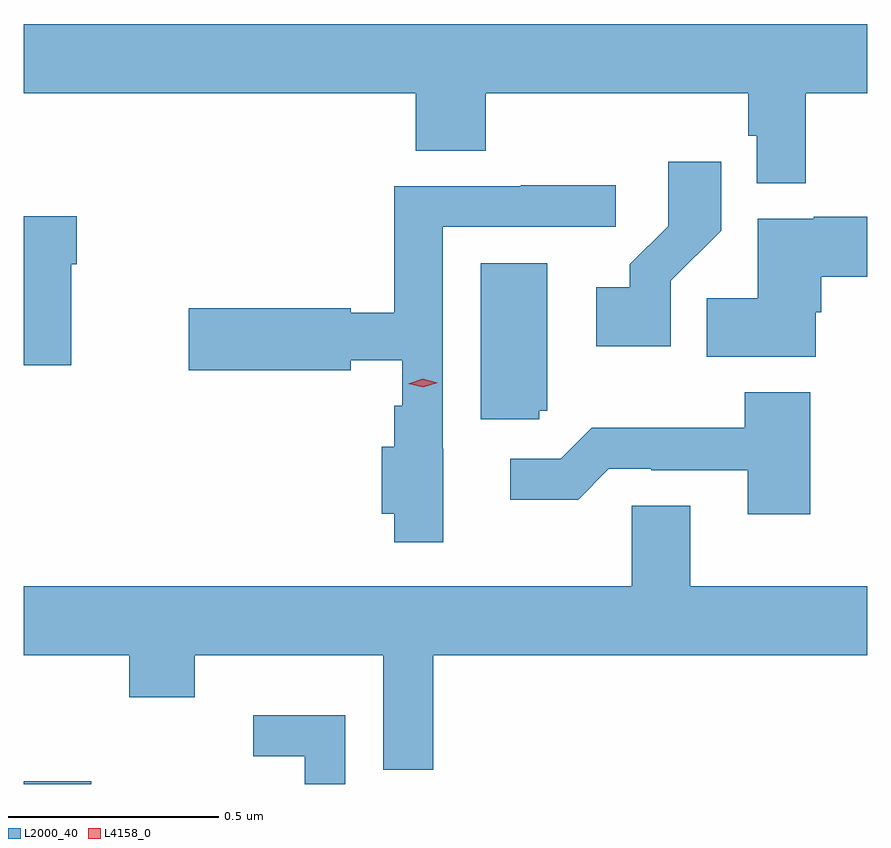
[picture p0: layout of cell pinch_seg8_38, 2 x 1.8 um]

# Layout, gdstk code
import gdstk
lib = gdstk.Library(unit=1e-6, precision=1e-09)
def R(c, l, rs):  # rectangles x0, y0, x1, y1
    for r in rs: c.add(gdstk.rectangle(r[:2], r[2:], *l))
def P(c, l, *ps):  # polygons
    for p in ps: c.add(gdstk.Polygon(p, *l))
L2000_40 = (2000, 40)
L4158_0 = (4158, 0)

pinch_seg8_38 = lib.new_cell('pinch_seg8_38')
R(pinch_seg8_38, L2000_40, [(923.297,1124.187,923.458,1124.194)])
P(pinch_seg8_38, L2000_40, [(925.151,1125.824),(925.297,1125.824),(925.297,1125.988),(923.297,1125.988),(923.297,1125.824),(924.227,1125.824),(924.227,1125.688),(924.392,1125.688),(924.392,1125.824),(925.015,1125.824),(925.015,1125.723),(925.035,1125.723),(925.035,1125.611),(925.151,1125.611)],
  [(924.831,1125.379),(924.95,1125.498),(924.95,1125.661),(924.825,1125.661),(924.825,1125.509),(924.734,1125.419),(924.734,1125.364),(924.654,1125.364),(924.654,1125.224),(924.831,1125.224)],
  [(924.292,1124.982),(924.291,1124.982),(924.291,1125.507),(924.7,1125.507),(924.7,1125.606),(924.475,1125.606),(924.475,1125.603),(924.175,1125.603),(924.175,1125.304),(924.072,1125.304),(924.072,1125.314),(923.688,1125.314),(923.688,1125.167),(924.072,1125.167),(924.072,1125.191),(924.195,1125.191),(924.195,1125.083),(924.175,1125.083),(924.175,1124.986),(924.146,1124.986),(924.146,1124.828),(924.175,1124.828),(924.175,1124.76),(924.292,1124.76)],
  [(923.41,1125.419),(923.423,1125.419),(923.423,1125.532),(923.297,1125.532),(923.297,1125.179),(923.41,1125.179)],
  [(925.174,1125.305),(925.187,1125.305),(925.187,1125.389),(925.297,1125.389),(925.297,1125.531),(925.17,1125.531),(925.17,1125.526),(925.037,1125.526),(925.037,1125.338),(924.916,1125.338),(924.916,1125.2),(925.174,1125.2)],
  [(924.519,1125.072),(924.538,1125.072),(924.538,1125.421),(924.38,1125.421),(924.38,1125.051),(924.519,1125.051)],
  [(925.161,1125.115),(925.006,1125.115),(925.006,1125.031),(924.643,1125.031),(924.57,1124.958),(924.45,1124.958),(924.45,1124.861),(924.611,1124.861),(924.684,1124.934),(924.784,1124.934),(924.784,1124.931),(925.013,1124.931),(925.013,1124.826),(925.161,1124.826)],
  [(924.268,1124.492),(925.297,1124.492),(925.297,1124.656),(924.877,1124.656),(924.877,1124.846),(924.738,1124.846),(924.738,1124.656),(923.297,1124.656),(923.297,1124.492),(923.548,1124.492),(923.548,1124.393),(923.703,1124.393),(923.703,1124.492),(924.149,1124.492),(924.149,1124.221),(924.268,1124.221)],
  [(924.06,1124.35),(923.841,1124.35),(923.841,1124.253),(923.964,1124.253),(923.964,1124.187),(924.06,1124.187)])
P(pinch_seg8_38, L4158_0, [(924.244,1125.127),(924.209,1125.135),(924.209,1125.136),(924.209,1125.136),(924.243,1125.147),(924.279,1125.138),(924.279,1125.138),(924.279,1125.138)])

lib.write_gds('pinch_seg8_38.gds')
